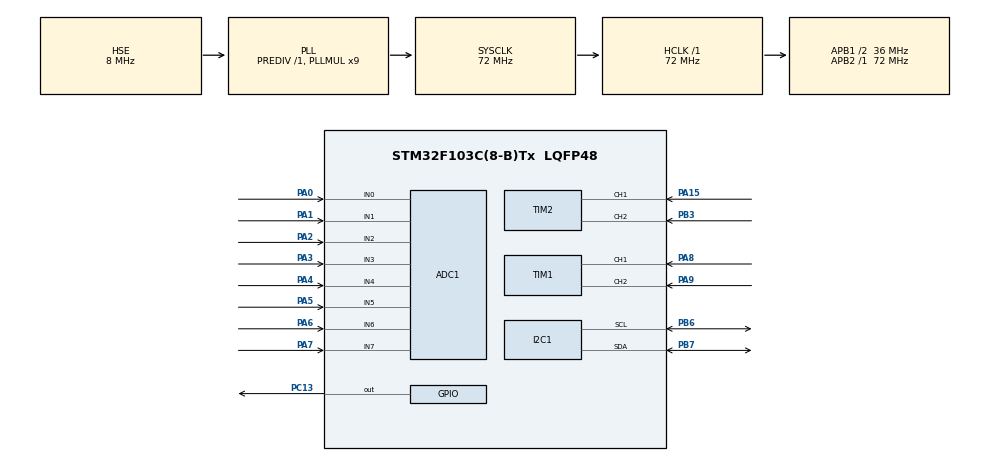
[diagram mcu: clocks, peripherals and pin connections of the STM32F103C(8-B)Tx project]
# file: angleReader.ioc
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ADC1.Channel-0\#ChannelRegularConversion=ADC_CHANNEL_0
ADC1.NbrOfConversionFlag=1
ADC1.Rank-0\#ChannelRegularConversion=1
ADC1.SamplingTime-0\#ChannelRegularConversion=ADC_SAMPLETIME_1CYCLE_5
ADC1.master=1
Dma.I2C1_RX.0.Direction=DMA_PERIPH_TO_MEMORY
Dma.I2C1_RX.0.Instance=DMA1_Channel7
Dma.I2C1_RX.0.MemDataAlignment=DMA_MDATAALIGN_BYTE
Dma.I2C1_RX.0.MemInc=DMA_MINC_ENABLE
Dma.I2C1_RX.0.Mode=DMA_CIRCULAR
Dma.I2C1_RX.0.PeriphDataAlignment=DMA_PDATAALIGN_BYTE
Dma.I2C1_RX.0.PeriphInc=DMA_PINC_DISABLE
Dma.I2C1_RX.0.Priority=DMA_PRIORITY_LOW
Dma.Request0=I2C1_RX
FREERTOS.Tasks01=ADCTask,0,128,StartADCTask,Default,NULL,Dynamic,NULL,NULL;MpuTask,-3,128,StartMpuTask,Default,NULL,Dynamic,NULL,NULL;PidSpeedTask,-3,128,StartPidSTsk,Default,NULL,Dynamic,NULL,NULL
I2C1.I2C_Mode=I2C_Standard
I2C1.OwnAddress=0x68
Mcu.Family=STM32F1
Mcu.Name=STM32F103C(8-B)Tx
Mcu.Package=LQFP48
NVIC.DMA1_Channel7_IRQn=true\:5\:0\:false\:false\:true\:true\:false\:true
NVIC.PriorityGroup=NVIC_PRIORITYGROUP_4
NVIC.TIM3_IRQn=true\:0\:0\:false\:false\:true\:false\:false\:true
NVIC.TimeBase=TIM3_IRQn
NVIC.TimeBaseIP=TIM3
PA0-WKUP.Signal=ADCx_IN0
PA1.Signal=ADCx_IN1
PA13.Mode=Serial_Wire
PA13.Signal=SYS_JTMS-SWDIO
PA14.Mode=Serial_Wire
PA14.Signal=SYS_JTCK-SWCLK
PA15.Signal=S_TIM2_CH1_ETR
PA2.Signal=ADCx_IN2
PA3.Signal=ADCx_IN3
PA4.Signal=ADCx_IN4
PA5.Signal=ADCx_IN5
PA6.Signal=ADCx_IN6
PA7.Signal=ADCx_IN7
PA8.Signal=S_TIM1_CH1
PA9.Signal=S_TIM1_CH2
PB3.Signal=S_TIM2_CH2
PB6.Mode=I2C
PB6.Signal=I2C1_SCL
PB7.Mode=I2C
PB7.Signal=I2C1_SDA
PC13-TAMPER-RTC.Signal=GPIO_Output
PD0-OSC_IN.Mode=HSE-External-Oscillator
PD0-OSC_IN.Signal=RCC_OSC_IN
PD1-OSC_OUT.Mode=HSE-External-Oscillator
PD1-OSC_OUT.Signal=RCC_OSC_OUT
ProjectManager.HeapSize=0x200
ProjectManager.StackSize=0x400
ProjectManager.TargetToolchain=STM32CubeIDE
RCC.ADCPresc=RCC_ADCPCLK2_DIV6
RCC.AHBFreq_Value=72000000
RCC.APB1CLKDivider=RCC_HCLK_DIV2
RCC.APB1Freq_Value=36000000
RCC.APB1TimFreq_Value=72000000
RCC.APB2Freq_Value=72000000
RCC.APB2TimFreq_Value=72000000
RCC.HCLKFreq_Value=72000000
RCC.PLLMUL=RCC_PLL_MUL9
RCC.PLLSourceVirtual=RCC_PLLSOURCE_HSE
RCC.SYSCLKFreq_VALUE=72000000
RCC.SYSCLKSource=RCC_SYSCLKSOURCE_PLLCLK
RCC.USBFreq_Value=72000000
SH.ADCx_IN0.0=ADC1_IN0,IN0
SH.ADCx_IN1.0=ADC1_IN1,IN1
SH.ADCx_IN2.0=ADC1_IN2,IN2
SH.ADCx_IN3.0=ADC1_IN3,IN3
SH.ADCx_IN4.0=ADC1_IN4,IN4
SH.ADCx_IN5.0=ADC1_IN5,IN5
SH.ADCx_IN6.0=ADC1_IN6,IN6
SH.ADCx_IN7.0=ADC1_IN7,IN7
SH.S_TIM1_CH1.0=TIM1_CH1,Encoder_Interface
SH.S_TIM1_CH2.0=TIM1_CH2,Encoder_Interface
SH.S_TIM2_CH1_ETR.0=TIM2_CH1,Encoder_Interface
SH.S_TIM2_CH2.0=TIM2_CH2,Encoder_Interface
TIM1.AutoReloadPreload=TIM_AUTORELOAD_PRELOAD_ENABLE
TIM1.EncoderMode=TIM_ENCODERMODE_TI1
TIM1.IC1Filter=2
TIM1.IC1Polarity=TIM_ICPOLARITY_FALLING
VP_FREERTOS_VS_CMSIS_V1.Mode=CMSIS_V1
VP_SYS_VS_tim3.Mode=TIM3
board=custom

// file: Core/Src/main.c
/* USER CODE BEGIN Header */
/**
  ******************************************************************************
  * @file           : main.c
  * @brief          : Main program body
  ******************************************************************************
  * @attention
  *
  * <h2><center>&copy; Copyright (c) 2024 STMicroelectronics.
  * All rights reserved.</center></h2>
  *
  * This software component is licensed by ST under BSD 3-Clause license,
  * the "License"; You may not use this file except in compliance with the
  * License. You may obtain a copy of the License at:
  *                        opensource.org/licenses/BSD-3-Clause
  *
  ******************************************************************************
  */
/* USER CODE END Header */
#include "main.h"
#include "cmsis_os.h"

/* USER CODE BEGIN PTD */
#define MPU_ADDRESS (0x68 << 1)

uint8_t buffer[14];
int16_t acc_x, acc_y, acc_z;
int16_t gyro_x, gyro_y, gyro_z;

/* USER CODE END PTD */

ADC_HandleTypeDef hadc1;

I2C_HandleTypeDef hi2c1;
DMA_HandleTypeDef hdma_i2c1_rx;

TIM_HandleTypeDef htim1;
TIM_HandleTypeDef htim2;

osThreadId ADCTaskHandle;
osThreadId MpuTaskHandle;
osThreadId PidSpeedTaskHandle;

void SystemClock_Config(void);
static void MX_GPIO_Init(void);
static void MX_DMA_Init(void);
static void MX_ADC1_Init(void);
static void MX_I2C1_Init(void);
static void MX_TIM1_Init(void);
static void MX_TIM2_Init(void);
void StartADCTask(void const * argument);
void StartMpuTask(void const * argument);
void StartPidSTsk(void const * argument);

/* USER CODE BEGIN PFP */
void configMpuRegister();
void readMpu();
/* USER CODE END PFP */

int main(void)
{

  /* MCU Configuration--------------------------------------------------------*/

  /* Reset of all peripherals, Initializes the Flash interface and the Systick. */
  HAL_Init();

  /* Configure the system clock */
  SystemClock_Config();

  /* Initialize all configured peripherals */
  MX_GPIO_Init();
  MX_DMA_Init();
  MX_ADC1_Init();
  MX_I2C1_Init();
  MX_TIM1_Init();
  MX_TIM2_Init();

  /* Create the thread(s) */
  /* definition and creation of ADCTask */
  osThreadDef(ADCTask, StartADCTask, osPriorityNormal, 0, 128);
  ADCTaskHandle = osThreadCreate(osThread(ADCTask), NULL);

  /* definition and creation of MpuTask */
  osThreadDef(MpuTask, StartMpuTask, osPriorityIdle, 0, 128);
  MpuTaskHandle = osThreadCreate(osThread(MpuTask), NULL);

  /* definition and creation of PidSpeedTask */
  osThreadDef(PidSpeedTask, StartPidSTsk, osPriorityIdle, 0, 128);
  PidSpeedTaskHandle = osThreadCreate(osThread(PidSpeedTask), NULL);

  /* Start scheduler */
  osKernelStart();

  /* We should never get here as control is now taken by the scheduler */
  /* Infinite loop */
  while (1)
  {

  }
}

void SystemClock_Config(void)
{
  RCC_OscInitTypeDef RCC_OscInitStruct = {0};
  RCC_ClkInitTypeDef RCC_ClkInitStruct = {0};
  RCC_PeriphCLKInitTypeDef PeriphClkInit = {0};

  /** Initializes the RCC Oscillators according to the specified parameters
  * in the RCC_OscInitTypeDef structure.
  */
  RCC_OscInitStruct.OscillatorType = RCC_OSCILLATORTYPE_HSE;
  RCC_OscInitStruct.HSEState = RCC_HSE_ON;
  RCC_OscInitStruct.HSEPredivValue = RCC_HSE_PREDIV_DIV1;
  RCC_OscInitStruct.HSIState = RCC_HSI_ON;
  RCC_OscInitStruct.PLL.PLLState = RCC_PLL_ON;
  RCC_OscInitStruct.PLL.PLLSource = RCC_PLLSOURCE_HSE;
  RCC_OscInitStruct.PLL.PLLMUL = RCC_PLL_MUL9;
  if (HAL_RCC_OscConfig(&RCC_OscInitStruct) != HAL_OK)
  {
    Error_Handler();
  }
  /** Initializes the CPU, AHB and APB buses clocks
  */
  RCC_ClkInitStruct.ClockType = RCC_CLOCKTYPE_HCLK|RCC_CLOCKTYPE_SYSCLK
                              |RCC_CLOCKTYPE_PCLK1|RCC_CLOCKTYPE_PCLK2;
  RCC_ClkInitStruct.SYSCLKSource = RCC_SYSCLKSOURCE_PLLCLK;
  RCC_ClkInitStruct.AHBCLKDivider = RCC_SYSCLK_DIV1;
  RCC_ClkInitStruct.APB1CLKDivider = RCC_HCLK_DIV2;
  RCC_ClkInitStruct.APB2CLKDivider = RCC_HCLK_DIV1;

  if (HAL_RCC_ClockConfig(&RCC_ClkInitStruct, FLASH_LATENCY_2) != HAL_OK)
  {
    Error_Handler();
  }
  PeriphClkInit.PeriphClockSelection = RCC_PERIPHCLK_ADC;
  PeriphClkInit.AdcClockSelection = RCC_ADCPCLK2_DIV6;
  if (HAL_RCCEx_PeriphCLKConfig(&PeriphClkInit) != HAL_OK)
  {
    Error_Handler();
  }
}

static void MX_ADC1_Init(void)
{

  ADC_ChannelConfTypeDef sConfig = {0};

  /** Common config
  */
  hadc1.Instance = ADC1;
  hadc1.Init.ScanConvMode = ADC_SCAN_DISABLE;
  hadc1.Init.ContinuousConvMode = DISABLE;
  hadc1.Init.DiscontinuousConvMode = DISABLE;
  hadc1.Init.ExternalTrigConv = ADC_SOFTWARE_START;
  hadc1.Init.DataAlign = ADC_DATAALIGN_RIGHT;
  hadc1.Init.NbrOfConversion = 1;
  if (HAL_ADC_Init(&hadc1) != HAL_OK)
  {
    Error_Handler();
  }
  /** Configure Regular Channel
  */
  sConfig.Channel = ADC_CHANNEL_0;
  sConfig.Rank = ADC_REGULAR_RANK_1;
  sConfig.SamplingTime = ADC_SAMPLETIME_1CYCLE_5;
  if (HAL_ADC_ConfigChannel(&hadc1, &sConfig) != HAL_OK)
  {
    Error_Handler();
  }

}

static void MX_I2C1_Init(void)
{

  hi2c1.Instance = I2C1;
  hi2c1.Init.ClockSpeed = 100000;
  hi2c1.Init.DutyCycle = I2C_DUTYCYCLE_2;
  hi2c1.Init.OwnAddress1 = 208;
  hi2c1.Init.AddressingMode = I2C_ADDRESSINGMODE_7BIT;
  hi2c1.Init.DualAddressMode = I2C_DUALADDRESS_DISABLE;
  hi2c1.Init.OwnAddress2 = 0;
  hi2c1.Init.GeneralCallMode = I2C_GENERALCALL_DISABLE;
  hi2c1.Init.NoStretchMode = I2C_NOSTRETCH_DISABLE;
  if (HAL_I2C_Init(&hi2c1) != HAL_OK)
  {
    Error_Handler();
  }

}

static void MX_TIM1_Init(void)
{

  TIM_Encoder_InitTypeDef sConfig = {0};
  TIM_MasterConfigTypeDef sMasterConfig = {0};

  htim1.Instance = TIM1;
  htim1.Init.Prescaler = 0;
  htim1.Init.CounterMode = TIM_COUNTERMODE_UP;
  htim1.Init.Period = 65535;
  htim1.Init.ClockDivision = TIM_CLOCKDIVISION_DIV1;
  htim1.Init.RepetitionCounter = 0;
  htim1.Init.AutoReloadPreload = TIM_AUTORELOAD_PRELOAD_ENABLE;
  sConfig.EncoderMode = TIM_ENCODERMODE_TI1;
  sConfig.IC1Polarity = TIM_ICPOLARITY_FALLING;
  sConfig.IC1Selection = TIM_ICSELECTION_DIRECTTI;
  sConfig.IC1Prescaler = TIM_ICPSC_DIV1;
  sConfig.IC1Filter = 2;
  sConfig.IC2Polarity = TIM_ICPOLARITY_RISING;
  sConfig.IC2Selection = TIM_ICSELECTION_DIRECTTI;
  sConfig.IC2Prescaler = TIM_ICPSC_DIV1;
  sConfig.IC2Filter = 0;
  if (HAL_TIM_Encoder_Init(&htim1, &sConfig) != HAL_OK)
  {
    Error_Handler();
  }
  sMasterConfig.MasterOutputTrigger = TIM_TRGO_RESET;
  sMasterConfig.MasterSlaveMode = TIM_MASTERSLAVEMODE_DISABLE;
  if (HAL_TIMEx_MasterConfigSynchronization(&htim1, &sMasterConfig) != HAL_OK)
  {
    Error_Handler();
  }

}

static void MX_TIM2_Init(void)
{

  TIM_Encoder_InitTypeDef sConfig = {0};
  TIM_MasterConfigTypeDef sMasterConfig = {0};

  htim2.Instance = TIM2;
  htim2.Init.Prescaler = 0;
  htim2.Init.CounterMode = TIM_COUNTERMODE_UP;
  htim2.Init.Period = 65535;
  htim2.Init.ClockDivision = TIM_CLOCKDIVISION_DIV1;
  htim2.Init.AutoReloadPreload = TIM_AUTORELOAD_PRELOAD_DISABLE;
  sConfig.EncoderMode = TIM_ENCODERMODE_TI1;
  sConfig.IC1Polarity = TIM_ICPOLARITY_RISING;
  sConfig.IC1Selection = TIM_ICSELECTION_DIRECTTI;
  sConfig.IC1Prescaler = TIM_ICPSC_DIV1;
  sConfig.IC1Filter = 0;
  sConfig.IC2Polarity = TIM_ICPOLARITY_RISING;
  sConfig.IC2Selection = TIM_ICSELECTION_DIRECTTI;
  sConfig.IC2Prescaler = TIM_ICPSC_DIV1;
  sConfig.IC2Filter = 0;
  if (HAL_TIM_Encoder_Init(&htim2, &sConfig) != HAL_OK)
  {
    Error_Handler();
  }
  sMasterConfig.MasterOutputTrigger = TIM_TRGO_RESET;
  sMasterConfig.MasterSlaveMode = TIM_MASTERSLAVEMODE_DISABLE;
  if (HAL_TIMEx_MasterConfigSynchronization(&htim2, &sMasterConfig) != HAL_OK)
  {
    Error_Handler();
  }

}

static void MX_DMA_Init(void)
{

  /* DMA controller clock enable */
  __HAL_RCC_DMA1_CLK_ENABLE();

  /* DMA interrupt init */
  /* DMA1_Channel7_IRQn interrupt configuration */
  HAL_NVIC_SetPriority(DMA1_Channel7_IRQn, 5, 0);
  HAL_NVIC_EnableIRQ(DMA1_Channel7_IRQn);

}

static void MX_GPIO_Init(void)
{
  GPIO_InitTypeDef GPIO_InitStruct = {0};

  /* GPIO Ports Clock Enable */
  __HAL_RCC_GPIOC_CLK_ENABLE();
  __HAL_RCC_GPIOD_CLK_ENABLE();
  __HAL_RCC_GPIOA_CLK_ENABLE();
  __HAL_RCC_GPIOB_CLK_ENABLE();

  /*Configure GPIO pin Output Level */
  HAL_GPIO_WritePin(GPIOC, GPIO_PIN_13, GPIO_PIN_RESET);

  /*Configure GPIO pin : PC13 */
  GPIO_InitStruct.Pin = GPIO_PIN_13;
  GPIO_InitStruct.Mode = GPIO_MODE_OUTPUT_PP;
  GPIO_InitStruct.Pull = GPIO_NOPULL;
  GPIO_InitStruct.Speed = GPIO_SPEED_FREQ_LOW;
  HAL_GPIO_Init(GPIOC, &GPIO_InitStruct);

}

/* USER CODE BEGIN 4 */
void configMpuRegister(){
	  HAL_GPIO_WritePin(GPIOC, GPIO_PIN_13, 1);
	  HAL_I2C_Mem_Read_DMA(&hi2c1, MPU_ADDRESS, 0x75, 1, buffer, 14);
	  HAL_I2C_Master_Transmit(&hi2c1, MPU_ADDRESS, (uint8_t[2]){0x3B, 0x00}, 2, 5);
	  HAL_I2C_Master_Transmit(&hi2c1, MPU_ADDRESS, (uint8_t[2]){0x1C, 0x10}, 2, 5);
	  HAL_I2C_Master_Transmit(&hi2c1, MPU_ADDRESS, (uint8_t[2]){0x1B, 0x08}, 2, 5);
}
void readMpu(){
	HAL_I2C_Master_Transmit(&hi2c1, MPU_ADDRESS, (uint8_t[]){0x3B}, 1, 5);

//	HAL_I2C_Mem_Read_DMA(&hi2c1, MPU_ADDRESS, buffer, 14);
	acc_x = buffer[0] << 8 | buffer[1];
	acc_y = buffer[2] << 8 | buffer[3];
	acc_z = buffer[4] << 8 | buffer[5];
	gyro_x = buffer[8] <<8 | buffer[9];
	gyro_y = buffer[10] <<8 | buffer[11];
	gyro_z = buffer[12] <<8 | buffer[13];
	HAL_GPIO_TogglePin(GPIOC, GPIO_PIN_13);
}
/* USER CODE END 4 */

void StartADCTask(void const * argument)
{
  /* USER CODE BEGIN 5 */
  /* Infinite loop */
	HAL_GPIO_WritePin(GPIOC, GPIO_PIN_13, 1);
  for(;;)
  {
	//HAL_GPIO_TogglePin(GPIOC, GPIO_PIN_13);
	osDelay(30);
  }
  /* USER CODE END 5 */
}

void StartMpuTask(void const * argument)
{
  /* USER CODE BEGIN StartMpuTask */
	//configMpuRegister();
	//HAL_I2C_Master_Receive_DMA(&hi2c1, (uint16_t)(MPU_ADDRESS << 1), buffer, sizeof(buffer));

  /* Infinite loop */
  for(;;)
  {

  }
  /* USER CODE END StartMpuTask */
}

void StartPidSTsk(void const * argument)
{
  for(;;)
  {
    osDelay(1);
  }
}

 /**
  * @brief  Period elapsed callback in non blocking mode
  * @note   This function is called  when TIM3 interrupt took place, inside
  * HAL_TIM_IRQHandler(). It makes a direct call to HAL_IncTick() to increment
  * a global variable "uwTick" used as application time base.
  * @param  htim : TIM handle
  * @retval None
  */
void HAL_TIM_PeriodElapsedCallback(TIM_HandleTypeDef *htim)
{
  if (htim->Instance == TIM3) {
    HAL_IncTick();
  }
}

void Error_Handler(void)
{
  __disable_irq();
  while (1)
  {
  }
}

/************************ (C) COPYRIGHT STMicroelectronics *****END OF FILE****/
